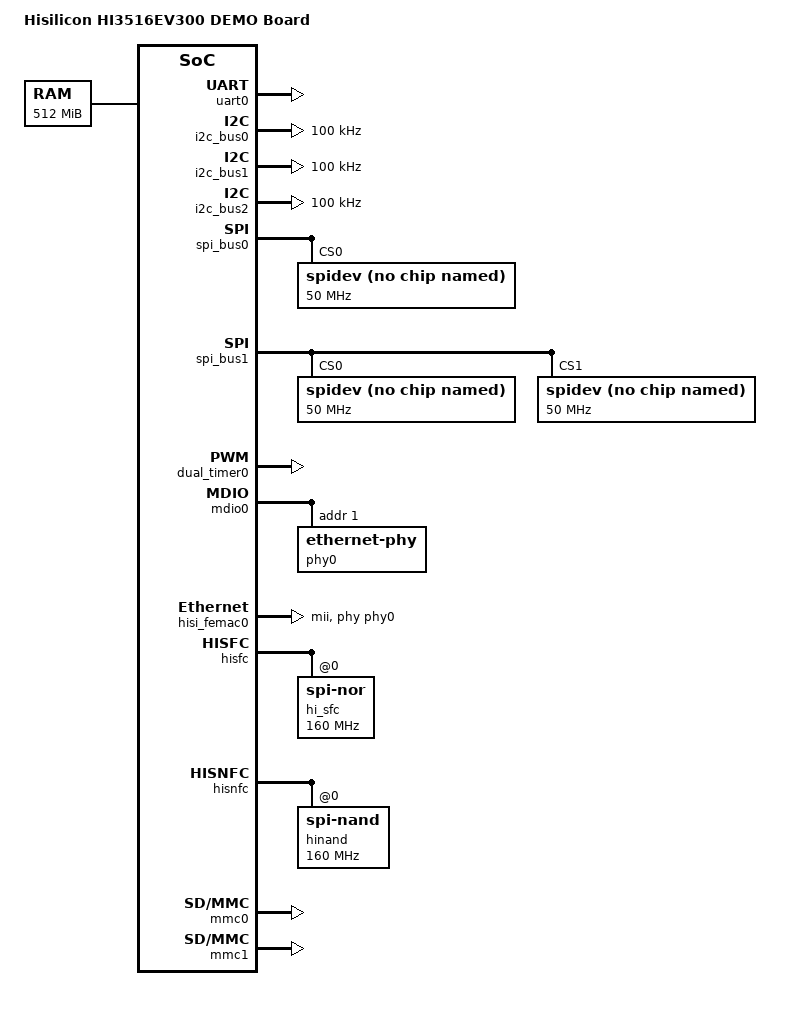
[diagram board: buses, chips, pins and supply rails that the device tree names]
/*
 * Copyright (c) 2013-2014 Linaro Ltd.
 * Copyright (c) 2015-2017 HiSilicon Technologies Co., Ltd.
 *
 * This program is free software; you can redistribute  it and/or modify it
 * under  the terms of  the GNU General  Public License as published by the
 * Free Software Foundation;  either version 2 of the  License, or (at your
 * option) any later version.
 *
 * This program is distributed in the hope that it will be useful,
 * but WITHOUT ANY WARRANTY; without even the implied warranty of
 * MERCHANTABILITY or FITNESS FOR A PARTICULAR PURPOSE. See the
 * GNU General Public License for more details.
 *
 * You should have received a copy of the GNU General Public License
 * along with this program.  If not, see <http://www.gnu.org/licenses/>.
 *
 */

/dts-v1/;
#include "hi3516ev300.dtsi"

/ {
	model = "Hisilicon HI3516EV300 DEMO Board";
	compatible = "hisilicon,hi3516ev300";

	memory {
		device_type = "memory";
		reg = <0x40000000 0x20000000>;
	};
};

&uart0 {
	status = "okay";
};

&uart1 {
	status = "disabled";
};

&uart2 {
	status = "disabled";
};

&i2c_bus0 {
    status = "okay";
    clock-frequency = <100000>;
};

&i2c_bus1 {
    status = "okay";
    clock-frequency = <100000>;
};

&i2c_bus2 {
    status = "okay";
    clock-frequency = <100000>;
};

&spi_bus0{
    status = "okay";
    num-cs = <1>;

    spidev@0 {
        compatible = "rohm,dh2228fv";
        reg = <0>;
        pl022,interface = <0>;
        pl022,com-mode = <0>;
        spi-max-frequency = <50000000>;
    };
};

&spi_bus1{
	status = "okay";
	num-cs = <2>;

	spidev@0 {
		compatible = "rohm,dh2228fv";
		reg = <0>;
		pl022,interface = <0>;
		pl022,com-mode = <0>;
		spi-max-frequency = <50000000>;
	};
	spidev@1 {
		compatible = "rohm,dh2228fv";
		reg = <1>;
		pl022,interface = <0>;
		pl022,com-mode = <0>;
		spi-max-frequency = <50000000>;
	};
};

&dual_timer0 {
	status = "okay";
};

&mdio0 {
	hisilicon,phy-reset-delays-us = <10000 20000 150000>;
	phy0: ethernet-phy@1 {
		reg = <1>;
	};
};

&hisi_femac0 {
	mac-address = [00 00 00 00 00 00];
	phy-mode = "mii";
	phy-handle = <&phy0>;
	status = "okay";
};

&hisfc {
	hi_sfc {
		   compatible = "jedec,spi-nor";
		   reg = <0>;
		   spi-max-frequency = <160000000>;
	};
};

&hisnfc {
	hinand {
		   compatible = "jedec,spi-nand";
		   reg = <0>;
		   spi-max-frequency = <160000000>;
	};
};

&mmc0 {
	status = "okay";
};

&mmc1 {
	status = "okay";
};

&gpio_chip0 {
	status = "okay";
};

&gpio_chip1 {
	status = "okay";
};

&gpio_chip2 {
	status = "okay";
};

&gpio_chip3 {
	status = "okay";
};

&gpio_chip4 {
	status = "okay";
};

&gpio_chip5 {
	status = "okay";
};

&gpio_chip6 {
	status = "okay";
};

&gpio_chip7 {
	status = "okay";
};

&gpio_chip8 {
	status = "okay";
};

&gpio_chip9 {
	status = "okay";
};

